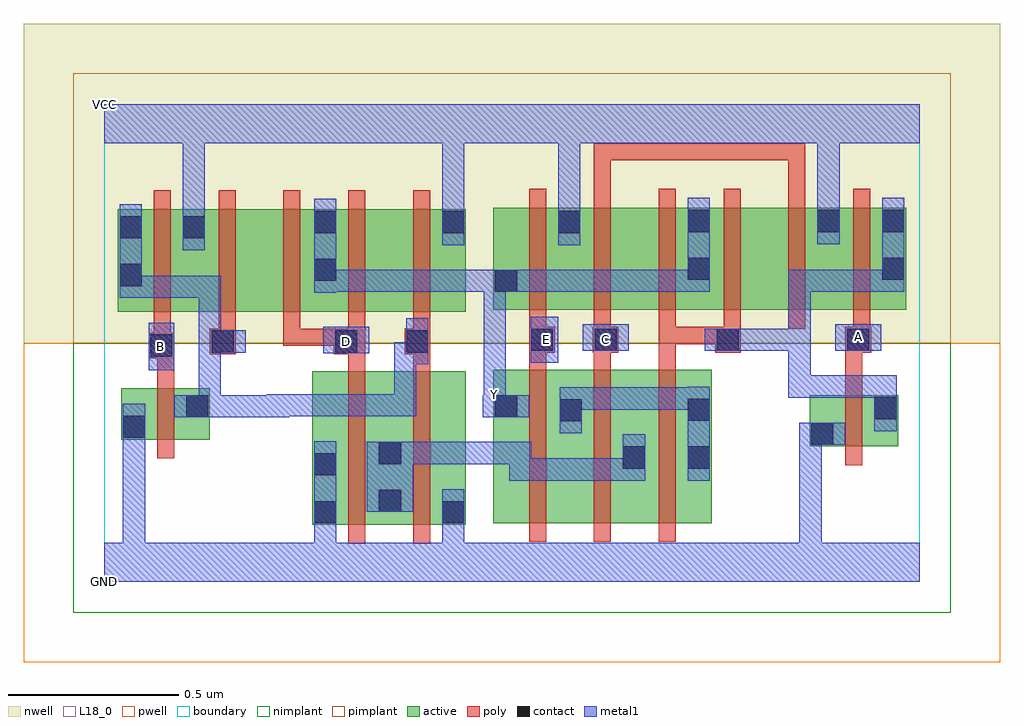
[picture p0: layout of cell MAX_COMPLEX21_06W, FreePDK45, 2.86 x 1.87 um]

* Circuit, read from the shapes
.subckt MAX_COMPLEX21_06W A B C D E GND VCC Y
M1 n1 B GND VSUBS nfet w=0.15u l=0.05u
M2 n2 D GND VSUBS nfet w=0.45u l=0.05u
M3 GND n1 n2 VSUBS nfet w=0.45u l=0.05u
M4 n3 E Y VSUBS nfet w=0.45u l=0.05u
M5 n2 C n3 VSUBS nfet w=0.45u l=0.05u
M6 n3 n4 n2 VSUBS nfet w=0.45u l=0.05u
M7 n4 A GND VSUBS nfet w=0.15u l=0.05u
M8 VCC B n1 n5 pfet w=0.3u l=0.05u
M9 n6 n1 VCC n5 pfet w=0.3u l=0.05u
M10 Y D n6 n5 pfet w=0.3u l=0.05u
M11 n7 D Y n5 pfet w=0.3u l=0.05u
M12 VCC n1 n7 n5 pfet w=0.3u l=0.05u
M13 VCC E Y n5 pfet w=0.3u l=0.05u
M14 n8 C VCC n5 pfet w=0.3u l=0.05u
M15 Y n4 n8 n5 pfet w=0.3u l=0.05u
M16 n9 n4 Y n5 pfet w=0.3u l=0.05u
M17 VCC C n9 n5 pfet w=0.3u l=0.05u
M18 n4 A VCC n5 pfet w=0.3u l=0.05u
.ends

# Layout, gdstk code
import gdstk
lib = gdstk.Library(unit=1e-6, precision=1e-09)
def R(c, l, rs):  # rectangles x0, y0, x1, y1
    for r in rs: c.add(gdstk.rectangle(r[:2], r[2:], *l))
def A(c, l, x, y, w, h, nx, ny, dx, dy):  # array of equal rectangles
    R(c, l, [(x+i*dx, y+j*dy, x+i*dx+w, y+j*dy+h) for i in range(nx) for j in range(ny)])
active = (1, 0)
pwell = (2, 0)
nwell = (3, 0)
nimplant = (4, 0)
pimplant = (5, 0)
poly = (9, 0)
contact = (10, 0)
metal1 = (11, 0)
L18_0 = (18, 0)
boundary = (235, 0)

max_complex21_06w = lib.new_cell('MAX_COMPLEX21_06W')
R(max_complex21_06w, active, [(0.61,0.167,0.875,0.617), (0.61,0.167,0.685,0.617), (0.8,0.167,1.06,0.617), (0.985,0.167,1.06,0.385), (1.14,0.172,1.405,0.622), (1.33,0.172,1.59,0.622), (1.515,0.172,1.78,0.622), (0.8,0.195,0.875,0.542), (1.14,0.195,1.215,0.622), (1.33,0.195,1.405,0.622), (1.515,0.195,1.59,0.542), (1.705,0.195,1.78,0.622), (2.067,0.397,2.142,0.547), (2.067,0.397,2.327,0.547), (2.252,0.397,2.327,0.547), (0.05,0.417,0.125,0.567), (0.05,0.417,0.31,0.567), (0.235,0.477,0.31,0.567), (0.04,0.792,0.115,1.092), (0.04,0.792,0.3,1.092), (0.225,0.792,0.3,1.092), (0.225,0.792,0.455,1.092), (0.455,0.792,0.685,1.092), (0.61,0.792,0.685,1.092), (0.61,0.792,0.835,1.092), (0.835,0.792,1.06,1.092), (0.985,0.792,1.06,1.092), (1.14,0.797,1.215,1.097), (1.14,0.797,1.4,1.097), (1.325,0.797,1.555,1.097), (1.555,0.797,1.78,1.097), (1.705,0.797,1.78,1.097), (1.705,0.797,1.935,1.097), (1.935,0.797,2.16,1.097), (2.085,0.797,2.16,1.097), (2.085,0.797,2.35,1.097), (2.275,0.797,2.35,1.097), (1.325,0.962,1.4,1.097)])
R(max_complex21_06w, pwell, [(-0.235,-0.235,2.625,0.7)])
R(max_complex21_06w, nwell, [(-0.235,0.7,2.625,1.635)])
R(max_complex21_06w, nimplant, [(-0.09,-0.09,2.48,0.7)])
R(max_complex21_06w, pimplant, [(-0.09,0.7,2.48,1.49)])
A(max_complex21_06w, poly, 1.245, 0.117, 0.05, 0.56, 3, 1, 0.19, 0)
A(max_complex21_06w, poly, 0.335, 0.692, 0.05, 0.095, 4, 1, 0.19, 0)
A(max_complex21_06w, poly, 1.245, 0.697, 0.05, 0.095, 4, 1, 0.19, 0)
A(max_complex21_06w, poly, 0.145, 0.737, 0.05, 0.41, 5, 1, 0.19, 0)
A(max_complex21_06w, poly, 1.245, 0.742, 0.05, 0.41, 6, 1, 0.19, 0)
R(max_complex21_06w, poly, [(0.715,0.112,0.765,0.672), (0.905,0.112,0.955,0.672), (2.172,0.342,2.222,0.602), (0.155,0.362,0.205,0.622), (2.172,0.552,2.222,0.722), (0.155,0.572,0.205,0.705), (0.715,0.622,0.765,0.717), (0.905,0.622,0.955,0.717), (1.245,0.627,1.295,0.722), (1.435,0.627,1.485,0.722), (1.625,0.627,1.675,0.747), (0.13,0.655,0.205,0.73), (0.31,0.667,0.385,0.742), (0.672,0.667,0.765,0.742), (0.88,0.667,0.955,0.742), (1.245,0.672,1.32,0.747), (1.432,0.672,1.507,0.747), (1.79,0.672,1.865,0.747), (2.172,0.672,2.247,0.747), (0.145,0.68,0.195,0.787), (0.525,0.692,0.575,0.742), (0.525,0.692,0.722,0.742), (0.672,0.692,0.722,0.742), (0.672,0.692,0.722,0.742), (1.625,0.697,1.675,0.747), (1.625,0.697,1.675,0.747), (1.625,0.697,1.675,0.747), (1.625,0.697,1.84,0.747), (2.195,0.697,2.245,0.792), (1.435,1.102,1.485,1.285), (2.005,1.102,2.055,1.285), (1.435,1.235,1.485,1.285), (1.435,1.235,1.485,1.285), (1.435,1.235,1.485,1.285), (1.435,1.235,1.64,1.285), (1.59,1.235,1.64,1.285), (1.59,1.235,1.64,1.285), (1.59,1.235,1.64,1.285), (1.59,1.235,1.807,1.285), (1.757,1.235,2.055,1.285), (1.757,1.235,1.807,1.285), (1.757,1.235,1.807,1.285), (1.757,1.235,1.807,1.285), (2.005,1.235,2.055,1.285)])
R(max_complex21_06w, contact, [(0.615,0.172,0.68,0.237), (0.99,0.172,1.055,0.237), (0.805,0.205,0.87,0.27), (0.615,0.312,0.68,0.377), (1.52,0.332,1.585,0.397), (1.71,0.332,1.775,0.397), (0.805,0.345,0.87,0.41), (2.072,0.402,2.137,0.467), (0.055,0.422,0.12,0.487), (1.335,0.47,1.4,0.535), (1.71,0.472,1.775,0.537), (2.257,0.477,2.322,0.542), (0.24,0.482,0.305,0.547), (1.145,0.482,1.21,0.547), (0.135,0.66,0.2,0.725), (0.315,0.672,0.38,0.737), (0.677,0.672,0.742,0.737), (0.885,0.672,0.95,0.737), (1.25,0.677,1.315,0.742), (1.437,0.677,1.502,0.742), (1.795,0.677,1.86,0.742), (2.177,0.677,2.242,0.742), (1.145,0.85,1.21,0.915), (0.045,0.867,0.11,0.932), (0.615,0.882,0.68,0.947), (1.71,0.885,1.775,0.95), (2.28,0.885,2.345,0.95), (0.045,1.007,0.11,1.072), (0.23,1.007,0.295,1.072), (0.615,1.022,0.68,1.087), (0.99,1.022,1.055,1.087), (1.33,1.022,1.395,1.087), (1.71,1.025,1.775,1.09), (2.09,1.025,2.155,1.09), (2.28,1.025,2.345,1.09)])
R(max_complex21_06w, metal1, [(0,0,2.39,0.115), (0.055,0.05,0.12,0.115), (0.055,0.05,0.12,0.115), (0.055,0.05,0.12,0.452), (0.615,0.05,0.68,0.115), (0.615,0.05,0.68,0.115), (0.615,0.05,0.68,0.202), (0.99,0.05,1.055,0.202), (2.037,0.05,2.102,0.115), (2.037,0.05,2.102,0.115), (2.037,0.05,2.102,0.115), (2.037,0.05,2.102,0.115), (2.037,0.05,2.102,0.115), (2.037,0.05,2.102,0.115), (2.037,0.05,2.102,0.467), (0.615,0.137,0.68,0.412), (0.99,0.137,1.055,0.202), (0.99,0.137,1.055,0.202), (0.99,0.137,1.055,0.272), (0.77,0.205,0.905,0.41), (1.187,0.297,1.39,0.362), (1.187,0.297,1.252,0.41), (1.325,0.297,1.39,0.362), (1.325,0.297,1.39,0.362), (1.325,0.297,1.39,0.362), (1.325,0.297,1.585,0.362), (1.52,0.297,1.585,0.432), (1.71,0.297,1.775,0.572), (0.84,0.345,1.025,0.41), (0.96,0.345,1.025,0.41), (0.96,0.345,1.055,0.41), (0.99,0.345,1.055,0.41), (0.99,0.345,1.252,0.41), (1.187,0.345,1.252,0.41), (1.187,0.345,1.252,0.41), (0.055,0.387,0.12,0.452), (0.055,0.387,0.12,0.452), (0.055,0.387,0.12,0.452), (0.055,0.387,0.12,0.452), (0.055,0.387,0.12,0.522), (2.037,0.402,2.172,0.467), (1.335,0.435,1.4,0.57), (2.257,0.442,2.322,0.577), (0.205,0.482,0.342,0.547), (0.277,0.482,0.342,0.547), (0.277,0.482,0.342,0.547), (0.277,0.482,0.542,0.547), (0.277,0.482,0.342,0.737), (0.477,0.482,0.542,0.55), (1.11,0.482,1.245,0.547), (1.112,0.482,1.177,0.547), (1.112,0.482,1.177,0.617), (0.477,0.485,0.542,0.55), (0.477,0.485,0.542,0.55), (0.477,0.485,0.697,0.55), (0.632,0.485,0.697,0.55), (0.632,0.485,0.697,0.55), (0.632,0.485,0.697,0.55), (0.632,0.485,0.915,0.55), (0.85,0.485,0.915,0.55), (0.85,0.485,0.915,0.702), (1.335,0.505,1.537,0.57), (1.472,0.505,1.537,0.57), (1.472,0.505,1.537,0.57), (1.472,0.505,1.537,0.57), (1.472,0.505,1.675,0.57), (1.61,0.505,1.675,0.57), (1.61,0.505,1.775,0.57), (2.257,0.512,2.322,0.577), (2.257,0.512,2.322,0.605), (2.005,0.54,2.07,0.605), (2.005,0.54,2.322,0.605), (2.005,0.54,2.07,0.742), (1.112,0.552,1.177,0.915), (0.13,0.62,0.205,0.76), (0.85,0.637,0.915,0.702), (0.85,0.637,0.95,0.702), (0.885,0.637,0.95,0.772), (1.25,0.642,1.33,0.777), (0.642,0.67,0.777,0.747), (0.277,0.672,0.342,0.897), (0.277,0.672,0.345,0.737), (0.28,0.672,0.345,0.737), (0.28,0.672,0.415,0.737), (1.402,0.677,1.537,0.755), (1.76,0.677,1.895,0.742), (1.83,0.677,1.895,0.742), (1.83,0.677,1.895,0.742), (1.83,0.677,2.07,0.742), (2.005,0.677,2.07,0.742), (2.005,0.677,2.07,0.742), (2.005,0.677,2.07,0.742), (2.005,0.677,2.07,0.915), (2.142,0.677,2.277,0.755), (0.045,0.832,0.11,0.897), (0.045,0.832,0.11,0.897), (0.045,0.832,0.11,1.107), (0.045,0.832,0.342,0.897), (0.277,0.832,0.342,0.897), (0.615,0.847,0.68,1.122), (0.615,0.85,0.68,0.915), (0.615,0.85,0.68,0.915), (0.615,0.85,0.917,0.915), (0.852,0.85,0.917,0.915), (0.852,0.85,0.917,0.915), (0.852,0.85,0.917,0.915), (0.852,0.85,1.107,0.915), (1.042,0.85,1.107,0.915), (1.042,0.85,1.175,0.915), (1.11,0.85,1.245,0.915), (1.18,0.85,1.245,0.915), (1.18,0.85,1.245,0.915), (1.18,0.85,1.39,0.915), (1.325,0.85,1.39,0.915), (1.325,0.85,1.39,0.915), (1.325,0.85,1.39,0.915), (1.325,0.85,1.637,0.915), (1.572,0.85,1.637,0.915), (1.572,0.85,1.675,0.915), (1.61,0.85,1.675,0.915), (1.61,0.85,1.775,0.915), (1.71,0.85,1.775,1.125), (2.005,0.85,2.07,0.915), (2.005,0.85,2.345,0.915), (2.28,0.85,2.345,0.915), (2.28,0.85,2.345,0.915), (2.28,0.85,2.345,1.125), (0.23,0.972,0.295,1.107), (0.99,0.987,1.055,1.122), (1.33,0.987,1.395,1.122), (2.09,0.99,2.155,1.125), (0.23,1.042,0.295,1.107), (0.23,1.042,0.295,1.107), (0.23,1.042,0.295,1.35), (0.99,1.057,1.055,1.122), (0.99,1.057,1.055,1.122), (0.99,1.057,1.055,1.35), (1.33,1.057,1.395,1.35), (2.09,1.06,2.155,1.125), (2.09,1.06,2.155,1.125), (2.09,1.06,2.155,1.35), (0,1.285,2.39,1.4), (1.33,1.285,1.395,1.35), (1.33,1.285,1.395,1.35)])
R(max_complex21_06w, L18_0, [(0,0,2.39,0.115), (0.055,0.05,0.12,0.115), (0.055,0.05,0.12,0.115), (0.055,0.05,0.12,0.452), (0.615,0.05,0.68,0.115), (0.615,0.05,0.68,0.115), (0.615,0.05,0.68,0.202), (0.99,0.05,1.055,0.202), (2.037,0.05,2.102,0.115), (2.037,0.05,2.102,0.115), (2.037,0.05,2.102,0.115), (2.037,0.05,2.102,0.115), (2.037,0.05,2.102,0.115), (2.037,0.05,2.102,0.115), (2.037,0.05,2.102,0.467), (0.615,0.137,0.68,0.412), (0.99,0.137,1.055,0.202), (0.99,0.137,1.055,0.202), (0.99,0.137,1.055,0.272), (0.055,0.387,0.12,0.452), (0.055,0.387,0.12,0.452), (0.055,0.387,0.12,0.452), (0.055,0.387,0.12,0.452), (0.055,0.387,0.12,0.522), (2.037,0.402,2.172,0.467), (1.11,0.482,1.245,0.547), (1.112,0.482,1.177,0.547), (1.112,0.482,1.177,0.617), (1.112,0.517,1.177,0.582), (1.112,0.552,1.177,0.915), (0.13,0.62,0.205,0.76), (1.25,0.642,1.33,0.777), (0.132,0.657,0.197,0.722), (0.642,0.67,0.777,0.747), (0.677,0.672,0.742,0.737), (1.262,0.677,1.327,0.742), (1.402,0.677,1.537,0.755), (1.437,0.677,1.502,0.742), (2.142,0.677,2.277,0.755), (2.177,0.687,2.242,0.752), (0.615,0.847,0.68,1.122), (0.615,0.85,0.68,0.915), (0.615,0.85,0.68,0.915), (0.615,0.85,0.917,0.915), (0.852,0.85,0.917,0.915), (0.852,0.85,0.917,0.915), (0.852,0.85,0.917,0.915), (0.852,0.85,1.107,0.915), (1.042,0.85,1.107,0.915), (1.042,0.85,1.175,0.915), (1.11,0.85,1.245,0.915), (1.18,0.85,1.245,0.915), (1.18,0.85,1.245,0.915), (1.18,0.85,1.39,0.915), (1.325,0.85,1.39,0.915), (1.325,0.85,1.39,0.915), (1.325,0.85,1.39,0.915), (1.325,0.85,1.637,0.915), (1.572,0.85,1.637,0.915), (1.572,0.85,1.675,0.915), (1.61,0.85,1.675,0.915), (1.61,0.85,1.775,0.915), (1.71,0.85,1.775,1.125), (0.23,0.972,0.295,1.107), (0.99,0.987,1.055,1.122), (1.33,0.987,1.395,1.122), (2.09,0.99,2.155,1.125), (0.23,1.042,0.295,1.107), (0.23,1.042,0.295,1.107), (0.23,1.042,0.295,1.35), (0.99,1.057,1.055,1.122), (0.99,1.057,1.055,1.122), (0.99,1.057,1.055,1.35), (1.33,1.057,1.395,1.35), (2.09,1.06,2.155,1.125), (2.09,1.06,2.155,1.125), (2.09,1.06,2.155,1.35), (0,1.285,2.39,1.4), (1.33,1.285,1.395,1.35), (1.33,1.285,1.395,1.35)])
R(max_complex21_06w, boundary, [(0,0,2.39,1.4)])
max_complex21_06w.add(gdstk.Label('A', (2.21,0.72), layer=11, texttype=0))
max_complex21_06w.add(gdstk.Label('B', (0.165,0.69), layer=11, texttype=0))
max_complex21_06w.add(gdstk.Label('C', (1.47,0.71), layer=11, texttype=0))
max_complex21_06w.add(gdstk.Label('D', (0.71,0.705), layer=11, texttype=0))
max_complex21_06w.add(gdstk.Label('E', (1.295,0.71), layer=11, texttype=0))
max_complex21_06w.add(gdstk.Label('Y', (1.145,0.55), layer=11, texttype=0))
max_complex21_06w.add(gdstk.Label('VCC', (0,1.4), layer=11, texttype=0))
max_complex21_06w.add(gdstk.Label('GND', (0,0), layer=11, texttype=0))

lib.write_gds('MAX_COMPLEX21_06W.gds')
